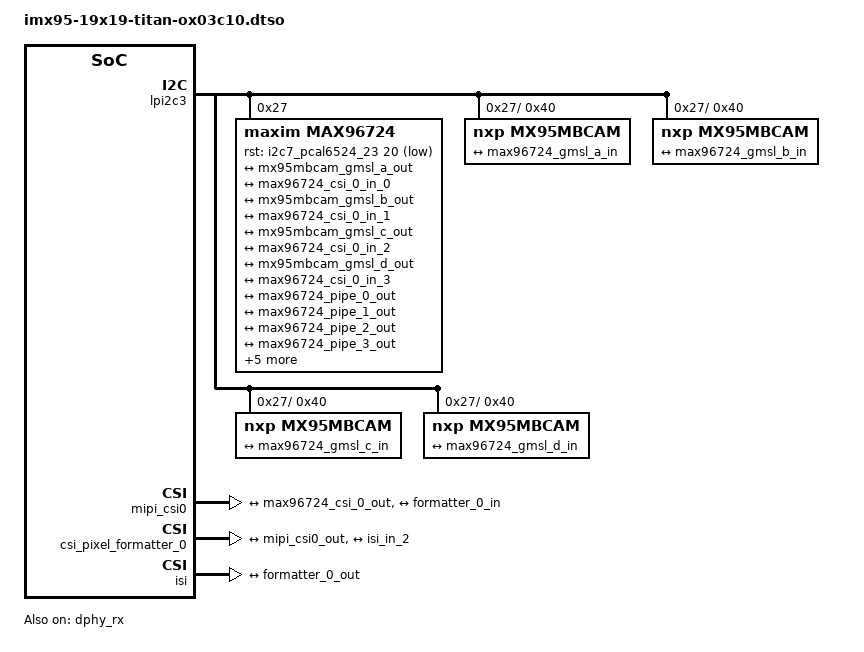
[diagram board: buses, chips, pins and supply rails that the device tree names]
// SPDX-License-Identifier: (GPL-2.0+ OR MIT)
/*
 * Copyright 2024 NXP
 */
/dts-v1/;
/plugin/;

#include <dt-bindings/clock/fsl,imx95-clock.h>
#include <dt-bindings/gpio/gpio.h>
#include "imx95-pinfunc.h"

&lpi2c3 {
	#address-cells = <1>;
	#size-cells = <0>;
	status = "okay";

	max96724@27 {
		compatible = "maxim,max96724";
		reg = <0x27>;
		status = "okay";

		rst-gpios = <&i2c7_pcal6524_23 20 GPIO_ACTIVE_LOW>;

		#address-cells = <1>;
		#size-cells = <0>;

		ports {
			#address-cells = <1>;
			#size-cells = <0>;

			port@0 {
				reg = <0>;
				#address-cells = <1>;
				#size-cells = <0>;

				max96724_gmsl_a_in: endpoint@0 {
					reg = <0>;
					remote-endpoint = <&mx95mbcam_gmsl_a_out>;
				};

				max96724_pipe_0_out: endpoint@1 {
					reg = <1>;
					remote-endpoint = <&max96724_csi_0_in_0>;
				};
			};

			port@1 {
				reg = <1>;
				#address-cells = <1>;
				#size-cells = <0>;

				max96724_gmsl_b_in: endpoint@0 {
					reg = <0>;
					remote-endpoint = <&mx95mbcam_gmsl_b_out>;
				};

				max96724_pipe_1_out: endpoint@1 {
					reg = <1>;
					remote-endpoint = <&max96724_csi_0_in_1>;
				};
			};

			port@2 {
				reg = <2>;
				#address-cells = <1>;
				#size-cells = <0>;

				max96724_gmsl_c_in: endpoint@0 {
					reg = <0>;
					remote-endpoint = <&mx95mbcam_gmsl_c_out>;
				};

				max96724_pipe_2_out: endpoint@1 {
					reg = <1>;
					remote-endpoint = <&max96724_csi_0_in_2>;
				};
			};

			port@3 {
				reg = <3>;
				#address-cells = <1>;
				#size-cells = <0>;

				max96724_gmsl_d_in: endpoint@0 {
					reg = <0>;
					remote-endpoint = <&mx95mbcam_gmsl_d_out>;
				};

				max96724_pipe_3_out: endpoint@1 {
					reg = <1>;
					remote-endpoint = <&max96724_csi_0_in_3>;
				};
			};

			port@4 {
				reg = <4>;
				#address-cells = <1>;
				#size-cells = <0>;

				max96724_csi_0_in_0: endpoint@0 {
					reg = <0>;
					remote-endpoint = <&max96724_pipe_0_out>;
				};

				max96724_csi_0_in_1: endpoint@1 {
					reg = <1>;
					remote-endpoint = <&max96724_pipe_1_out>;
				};

				max96724_csi_0_in_2: endpoint@2 {
					reg = <2>;
					remote-endpoint = <&max96724_pipe_2_out>;
				};

				max96724_csi_0_in_3: endpoint@3 {
					reg = <3>;
					remote-endpoint = <&max96724_pipe_3_out>;
				};

				max96724_csi_0_out: endpoint@4 {
					reg = <4>;
					data-lanes = <1 2 3 4>;
					remote-endpoint = <&mipi_csi0_ep>;
				};
			};
		};

		i2c-mux {
			#address-cells = <1>;
			#size-cells = <0>;

			i2c@0 {
				#address-cells = <1>;
				#size-cells = <0>;
				reg = <0>;

				mx95mbcam@40 {
					compatible = "nxp,mx95mbcam";
					reg = <0x40>;
					nxp,camera_sensor_reset_pin = <8>;
					nxp,camera_sensor_clock_pin = <4>;

					port {
						mx95mbcam_gmsl_a_out: endpoint {
							remote-endpoint = <&max96724_gmsl_a_in>;
						};
					};
				};
			};

			i2c@1 {
				#address-cells = <1>;
				#size-cells = <0>;
				reg = <1>;

				mx95mbcam@40 {
					compatible = "nxp,mx95mbcam";
					reg = <0x40>;
					nxp,camera_sensor_reset_pin = <8>;
					nxp,camera_sensor_clock_pin = <4>;

					port {
						mx95mbcam_gmsl_b_out: endpoint {
							remote-endpoint = <&max96724_gmsl_b_in>;
						};
					};
				};
			};

			i2c@2 {
				#address-cells = <1>;
				#size-cells = <0>;
				reg = <2>;

				mx95mbcam@40 {
					compatible = "nxp,mx95mbcam";
					reg = <0x40>;
					nxp,camera_sensor_reset_pin = <8>;
					nxp,camera_sensor_clock_pin = <4>;

					port {
						mx95mbcam_gmsl_c_out: endpoint {
							remote-endpoint = <&max96724_gmsl_c_in>;
						};
					};
				};
			};

			i2c@3 {
				#address-cells = <1>;
				#size-cells = <0>;
				reg = <3>;


				mx95mbcam@40 {
					compatible = "nxp,mx95mbcam";
					reg = <0x40>;
					nxp,camera_sensor_reset_pin = <8>;
					nxp,camera_sensor_clock_pin = <4>;

					port {
						mx95mbcam_gmsl_d_out: endpoint {
							remote-endpoint = <&max96724_gmsl_d_in>;
						};
					};
				};
			};
		};
	};
};

&dphy_rx {
	status = "okay";
};

&mipi_csi0 {
	status = "okay";
	virtual-channel;

	ports {
		#address-cells = <1>;
		#size-cells = <0>;

		port@0 {
			reg = <0>;
			mipi_csi0_ep: endpoint {
				remote-endpoint = <&max96724_csi_0_out>;
				data-lanes = <1 2 3 4>;
				clock-lanes = <0>;
			};
		};

		port@1 {
			reg = <1>;
				mipi_csi0_out: endpoint {
				remote-endpoint = <&formatter_0_in>;
			};
		};
	};
};

&csi_pixel_formatter_0 {
	status = "okay";

	ports {
		#address-cells = <1>;
		#size-cells = <0>;

		port@0 {
			reg = <0>;

			formatter_0_in: endpoint {
				remote-endpoint = <&mipi_csi0_out>;
			};
		};

		port@1 {
			reg = <1>;

			formatter_0_out: endpoint {
				remote-endpoint = <&isi_in_2>;
			};
		};
	};
};

&isi {
	status = "okay";

	ports {
		port@2 {
			isi_in_2: endpoint {
				remote-endpoint = <&formatter_0_out>;
			};
		};
	};
};
